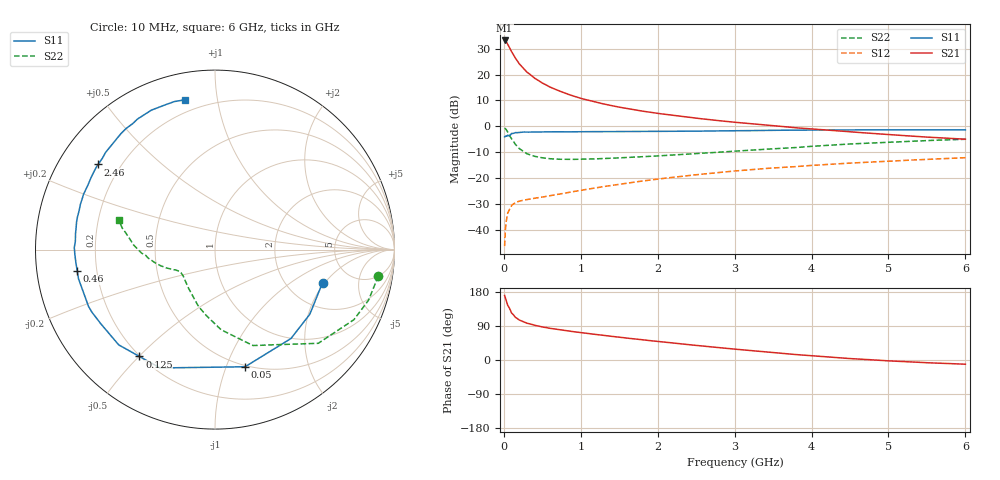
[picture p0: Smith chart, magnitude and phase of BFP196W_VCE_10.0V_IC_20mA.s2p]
! Infineon Technologies  Discrete & RF Semiconductors
! BFP196W
! VCE = 10.0V,  IC =  20mA
! Common Emitter S-Parameters:  Jan 2016
# GHz  S  MA  R  50
!  f  S11  S21  S12  S22
! GHz  MAG  ANG  MAG  ANG  MAG  ANG  MAG  ANG
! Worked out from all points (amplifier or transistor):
!   210 points, 10 MHz to 6 GHz, reference 50 ohm
!   highest |S21| = 33.2 dB at 10 MHz (marker M1)
!   |S21| within 3 dB of that: start of sweep to 77.39 MHz
!   unconditionally stable (mu >= 1): 947.4 MHz to 3.497 GHz; 3.791312 GHz to 3.801576 GHz
!   at 185 MHz: K = 0.32, MSG = 27.0 dB, |S12| = -29.1 dB
!   at 1.52 GHz: K = 1.12, MAG = 12.7 dB, |S12| = -22.3 dB
!   at 6 GHz: K = 0.94, MSG = 3.6 dB, |S12| = -12.2 dB
!   S11 on the Smith chart (normalised r, x): 10 MHz: 3.13, -1.89; 50 MHz: 0.49, -1.17; 125 MHz: 0.20, -0.50; 460 MHz: 0.13, -0.08; 2.46 GHz: 0.12, +0.32; 6 GHz: 0.13, +0.81
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0.01  0.6271 -17.0  45.62 170.2  0.0048 74.0  0.9219 -9.2
0.02  0.6394 -34.3  45.22 164.2  0.0101 71.4  0.9005 -18.3
0.03  0.6515 -49.5  43.48 157.2  0.014 67.5  0.8667 -26.8
0.05  0.674 -75.6  38.84 144.4  0.0208 57.3  0.7772 -42.2
0.1  0.727 -114.9  27.83 124.1  0.0294 41.9  0.5748 -68.4
0.125  0.7291 -125.3  24.16 119.1  0.0314 38.0  0.5057 -75.9
0.15  0.7547 -135.3  20.74 112.5  0.0335 34.6  0.448 -85.6
0.2  0.7588 -147.1  16.18 105.6  0.0356 32.1  0.3713 -97.4
0.24  0.7696 -153.2  13.87 101.9  0.0368 31.1  0.3367 -104.4
0.3  0.7705 -160.2  11.14 97.1  0.0381 31.3  0.294 -113.5
0.4  0.7778 -168.0  8.494 91.5  0.0406 32.2  0.2625 -123.8
0.46  0.7772 -171.1  7.505 89.1  0.0418 33.8  0.2517 -128.1
0.6  0.7808 -177.3  5.727 83.6  0.0454 37.1  0.2355 -136.4
0.7  0.7841 179.2  4.951 80.6  0.0482 39.2  0.2304 -140.0
1.02  0.7833 171.0  3.406 71.8  0.0583 45.2  0.2305 -147.2
1.4  0.7883 163.1  2.506 62.4  0.0719 48.8  0.2409 -151.2
2.02  0.7965 151.5  1.76 48.6  0.096 51.0  0.2681 -156.1
2.46  0.8054 143.9  1.455 39.3  0.1138 50.2  0.2932 -160.0
3.1  0.8208 133.7  1.159 26.9  0.1403 47.3  0.3369 -167.0
4.1  0.8468 119.5  0.867 10.0  0.1787 41.2  0.4178 -178.5
5.1  0.8529 108.8  0.674 -3.2  0.2146 34.4  0.4983 170.3
6  0.8514 101.4  0.562 -11.1  0.2467 28.5  0.5601 163.1
